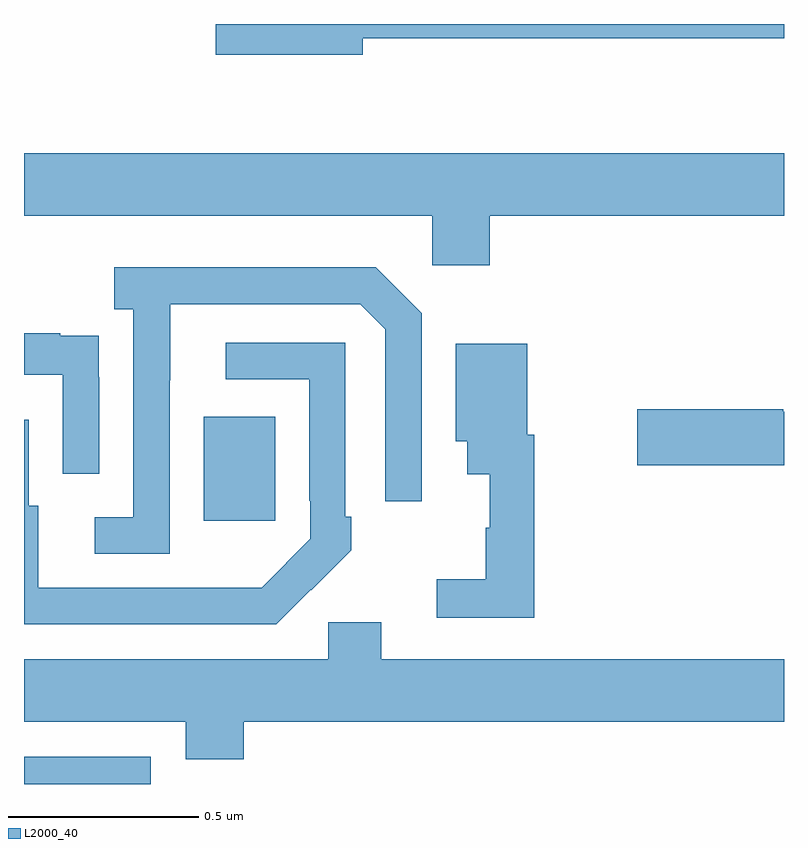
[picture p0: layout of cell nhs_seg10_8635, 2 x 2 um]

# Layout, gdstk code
import gdstk
lib = gdstk.Library(unit=1e-6, precision=1e-09)
def R(c, l, rs):  # rectangles x0, y0, x1, y1
    for r in rs: c.add(gdstk.rectangle(r[:2], r[2:], *l))
def P(c, l, *ps):  # polygons
    for p in ps: c.add(gdstk.Polygon(p, *l))
L2000_40 = (2000, 40)

nhs_seg10_8635 = lib.new_cell('nhs_seg10_8635')
R(nhs_seg10_8635, L2000_40, [(219,1285.5,219.333,1285.572), (219.473,1286.193,219.661,1286.467)])
P(nhs_seg10_8635, L2000_40, [(219.892,1287.462),(221,1287.462),(221,1287.5),(219.504,1287.5),(219.504,1287.419),(219.892,1287.419)],
  [(220.226,1286.996),(221,1286.996),(221,1287.16),(219,1287.16),(219,1286.996),(220.074,1286.996),(220.074,1286.865),(220.226,1286.865)],
  [(219.384,1286.563),(219.385,1286.563),(219.385,1286.763),(219.885,1286.763),(219.951,1286.697),(219.951,1286.244),(220.047,1286.244),(220.047,1286.739),(219.926,1286.86),(219.237,1286.86),(219.237,1286.75),(219.288,1286.75),(219.288,1286.202),(219.186,1286.202),(219.186,1286.106),(219.384,1286.106)],
  [(219.198,1286.57),(219.197,1286.57),(219.197,1286.679),(219.095,1286.679),(219.095,1286.686),(219,1286.686),(219,1286.577),(219.102,1286.577),(219.102,1286.316),(219.198,1286.316)],
  [(219.755,1286.011),(219.756,1286.01),(219.861,1286.115),(219.861,1286.203),(219.846,1286.203),(219.846,1286.661),(219.531,1286.661),(219.531,1286.565),(219.75,1286.565),(219.75,1286.245),(219.753,1286.245),(219.753,1286.145),(219.625,1286.017),(219.521,1286.017),(219.521,1286.016),(219.037,1286.016),(219.037,1286.232),(219.013,1286.232),(219.013,1286.458),(219,1286.458),(219,1285.92),(219.664,1285.92)],
  [(220.343,1286.419),(220.324,1286.419),(220.324,1286.659),(220.136,1286.659),(220.136,1286.402),(220.166,1286.402),(220.166,1286.315),(220.226,1286.315),(220.226,1286.175),(220.215,1286.175),(220.215,1286.039),(220.086,1286.039),(220.086,1285.938),(220.343,1285.938)],
  [(221,1286.48),(220.998,1286.48),(220.998,1286.486),(220.614,1286.486),(220.614,1286.339),(221,1286.339)],
  [(219.578,1285.664),(221,1285.664),(221,1285.828),(219.94,1285.828),(219.94,1285.926),(219.801,1285.926),(219.801,1285.828),(219,1285.828),(219,1285.664),(219.425,1285.664),(219.425,1285.565),(219.578,1285.565)])

lib.write_gds('nhs_seg10_8635.gds')
